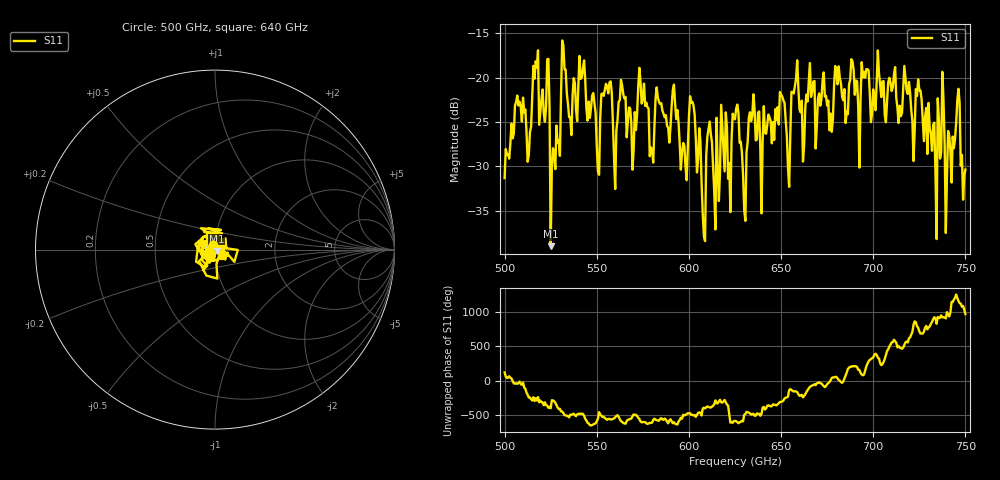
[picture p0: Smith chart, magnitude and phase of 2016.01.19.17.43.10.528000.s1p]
!Created with skrf (http://scikit-rf.org).
# GHz S RI R 50.0
!freq ReS11 ImS11
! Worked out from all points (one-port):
!   401 points, 500 GHz to 750 GHz, reference 50 ohm
!   lowest |S11| = -39.0 dB at 525 GHz (marker M1), VSWR 1.02, Z = 50.9 - j0.717 ohm
!   |S11| at or under -10 dB: start of sweep to end of sweep
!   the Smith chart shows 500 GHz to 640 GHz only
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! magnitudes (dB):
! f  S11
! 500 GHz  -31.3
! 506.9 GHz  -22.0
! 513.1 GHz  -28.7
! 516.9 GHz  -18.2
! 525 GHz  -39.0
! 526.2 GHz  -28.0
! 531.2 GHz  -15.8
! 541.9 GHz  -20.0
! 550.6 GHz  -30.5
! 562.5 GHz  -22.5
! 593.8 GHz  -23.7
! 598.1 GHz  -30.0
! 601.9 GHz  -22.7
! 608.1 GHz  -37.8
! 610.6 GHz  -25.8
! 615 GHz  -24.5
! 625 GHz  -24.7
! 630 GHz  -34.9
! 633.8 GHz  -24.9
! 640 GHz  -27.1
! 650.6 GHz  -22.1
! 653.8 GHz  -30.2
! 656.2 GHz  -21.6
! 687.5 GHz  -20.2
! 718.8 GHz  -21.8
! 733.1 GHz  -25.1
! 745.6 GHz  -22.5
! 750 GHz  -30.4
